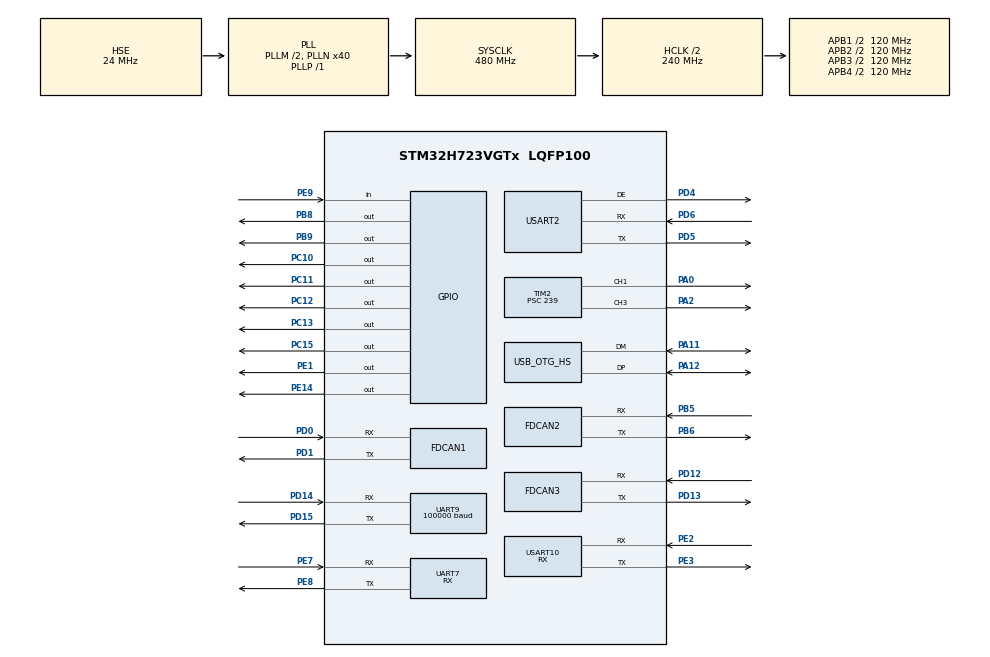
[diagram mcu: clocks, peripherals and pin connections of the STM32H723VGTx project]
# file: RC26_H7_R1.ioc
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CORTEX_M7.default_mode_Activation=1
Dma.Request0=UART9_RX
Dma.Request1=USART2_RX
Dma.UART9_RX.0.Direction=DMA_PERIPH_TO_MEMORY
Dma.UART9_RX.0.EventEnable=DISABLE
Dma.UART9_RX.0.FIFOMode=DMA_FIFOMODE_DISABLE
Dma.UART9_RX.0.Instance=DMA1_Stream2
Dma.UART9_RX.0.MemDataAlignment=DMA_MDATAALIGN_BYTE
Dma.UART9_RX.0.MemInc=DMA_MINC_ENABLE
Dma.UART9_RX.0.Mode=DMA_CIRCULAR
Dma.UART9_RX.0.PeriphDataAlignment=DMA_PDATAALIGN_BYTE
Dma.UART9_RX.0.PeriphInc=DMA_PINC_DISABLE
Dma.UART9_RX.0.Polarity=HAL_DMAMUX_REQ_GEN_RISING
Dma.UART9_RX.0.Priority=DMA_PRIORITY_VERY_HIGH
Dma.UART9_RX.0.RequestNumber=1
Dma.UART9_RX.0.SignalID=NONE
Dma.UART9_RX.0.SyncEnable=DISABLE
Dma.UART9_RX.0.SyncPolarity=HAL_DMAMUX_SYNC_NO_EVENT
Dma.UART9_RX.0.SyncRequestNumber=1
Dma.UART9_RX.0.SyncSignalID=NONE
Dma.USART2_RX.1.Direction=DMA_PERIPH_TO_MEMORY
Dma.USART2_RX.1.EventEnable=DISABLE
Dma.USART2_RX.1.FIFOMode=DMA_FIFOMODE_DISABLE
Dma.USART2_RX.1.Instance=DMA1_Stream0
Dma.USART2_RX.1.MemDataAlignment=DMA_MDATAALIGN_BYTE
Dma.USART2_RX.1.MemInc=DMA_MINC_ENABLE
Dma.USART2_RX.1.Mode=DMA_CIRCULAR
Dma.USART2_RX.1.PeriphDataAlignment=DMA_PDATAALIGN_BYTE
Dma.USART2_RX.1.PeriphInc=DMA_PINC_DISABLE
Dma.USART2_RX.1.Polarity=HAL_DMAMUX_REQ_GEN_RISING
Dma.USART2_RX.1.Priority=DMA_PRIORITY_LOW
Dma.USART2_RX.1.RequestNumber=1
Dma.USART2_RX.1.SignalID=NONE
Dma.USART2_RX.1.SyncEnable=DISABLE
Dma.USART2_RX.1.SyncPolarity=HAL_DMAMUX_SYNC_NO_EVENT
Dma.USART2_RX.1.SyncRequestNumber=1
Dma.USART2_RX.1.SyncSignalID=NONE
FDCAN1.AutoRetransmission=ENABLE
FDCAN1.CalculateBaudRateNominal=1000000
FDCAN1.CalculateTimeBitNominal=1000
FDCAN1.CalculateTimeQuantumNominal=25.0
FDCAN1.DataPrescaler=3
FDCAN1.DataSyncJumpWidth=10
FDCAN1.DataTimeSeg1=29
FDCAN1.DataTimeSeg2=10
FDCAN1.FrameFormat=FDCAN_FRAME_CLASSIC
FDCAN1.NominalPrescaler=3
FDCAN1.NominalSyncJumpWidth=10
FDCAN1.NominalTimeSeg1=29
FDCAN1.NominalTimeSeg2=10
FDCAN1.RxFifo0ElmtsNbr=16
FDCAN1.StdFiltersNbr=1
FDCAN1.TxBuffersNbr=0
FDCAN1.TxFifoQueueElmtsNbr=4
FDCAN2.AutoRetransmission=ENABLE
FDCAN2.CalculateBaudRateNominal=1000000
FDCAN2.CalculateTimeBitNominal=1000
FDCAN2.CalculateTimeQuantumNominal=25.0
FDCAN2.DataPrescaler=3
FDCAN2.DataSyncJumpWidth=10
FDCAN2.DataTimeSeg1=29
FDCAN2.DataTimeSeg2=10
FDCAN2.MessageRAMOffset=853
FDCAN2.NominalPrescaler=3
FDCAN2.NominalSyncJumpWidth=10
FDCAN2.NominalTimeSeg1=29
FDCAN2.NominalTimeSeg2=10
FDCAN2.RxFifo0ElmtsNbr=16
FDCAN2.StdFiltersNbr=1
FDCAN2.TxFifoQueueElmtsNbr=4
FDCAN3.AutoRetransmission=ENABLE
FDCAN3.CalculateBaudRateNominal=1000000
FDCAN3.CalculateTimeBitNominal=1000
FDCAN3.CalculateTimeQuantumNominal=25.0
FDCAN3.DataPrescaler=3
FDCAN3.DataSyncJumpWidth=10
FDCAN3.DataTimeSeg1=29
FDCAN3.DataTimeSeg2=10
FDCAN3.MessageRAMOffset=1706
FDCAN3.NominalPrescaler=3
FDCAN3.NominalSyncJumpWidth=10
FDCAN3.NominalTimeSeg1=29
FDCAN3.NominalTimeSeg2=10
FDCAN3.RxFifo0ElmtsNbr=16
FDCAN3.StdFiltersNbr=1
FDCAN3.TxFifoQueueElmtsNbr=4
FREERTOS.Tasks01=defaultTask,24,128,StartDefaultTask,Default,NULL,Dynamic,NULL,NULL;CanTask,48,128,Can_Task,As weak,NULL,Dynamic,NULL,NULL;MotionTask,40,128,Motion_Task,As weak,NULL,Dynamic,NULL,NULL;SensorTask,8,128,Sensor_Task,As weak,NULL,Dynamic,NULL,NULL
Mcu.Family=STM32H7
Mcu.Name=STM32H723VGTx
Mcu.Package=LQFP100
NVIC.DMA1_Stream0_IRQn=true\:5\:0\:false\:false\:true\:true\:false\:true\:true
NVIC.DMA1_Stream2_IRQn=true\:5\:0\:false\:false\:true\:false\:false\:true\:true
NVIC.FDCAN1_IT0_IRQn=true\:5\:0\:false\:false\:true\:true\:true\:true\:true
NVIC.FDCAN2_IT0_IRQn=true\:5\:0\:false\:false\:true\:true\:true\:true\:true
NVIC.FDCAN3_IT0_IRQn=true\:5\:0\:false\:false\:true\:true\:true\:true\:true
NVIC.OTG_HS_IRQn=true\:5\:0\:false\:false\:true\:true\:false\:true\:true
NVIC.PriorityGroup=NVIC_PRIORITYGROUP_4
NVIC.TIM3_IRQn=true\:5\:0\:false\:false\:true\:true\:true\:true\:true
NVIC.TIM4_IRQn=true\:5\:0\:false\:false\:true\:true\:true\:true\:true
NVIC.TIM5_IRQn=true\:5\:0\:false\:false\:true\:true\:true\:true\:true
NVIC.TIM8_UP_TIM13_IRQn=true\:15\:0\:false\:false\:true\:false\:false\:true\:true
NVIC.TimeBase=TIM8_UP_TIM13_IRQn
NVIC.TimeBaseIP=TIM8
NVIC.UART7_IRQn=true\:5\:0\:false\:false\:true\:true\:true\:true\:true
NVIC.UART9_IRQn=true\:5\:0\:false\:false\:true\:true\:true\:true\:true
NVIC.USART10_IRQn=true\:5\:0\:false\:false\:true\:true\:true\:true\:true
NVIC.USART2_IRQn=true\:5\:0\:false\:false\:true\:true\:true\:true\:true
PA0.Signal=S_TIM2_CH1_ETR
PA11.Mode=Device_Only_FS
PA11.Signal=USB_OTG_HS_DM
PA12.Mode=Device_Only_FS
PA12.Signal=USB_OTG_HS_DP
PA13(JTMS/SWDIO).Mode=Serial_Wire
PA13(JTMS/SWDIO).Signal=DEBUG_JTMS-SWDIO
PA14(JTCK/SWCLK).Mode=Serial_Wire
PA14(JTCK/SWCLK).Signal=DEBUG_JTCK-SWCLK
PA2.Signal=S_TIM2_CH3
PB5.Mode=FDCAN_Activate
PB5.Signal=FDCAN2_RX
PB6.Mode=FDCAN_Activate
PB6.Signal=FDCAN2_TX
PB8.GPIO_PuPd=GPIO_PULLDOWN
PB8.Signal=GPIO_Output
PB9.GPIO_PuPd=GPIO_PULLDOWN
PB9.Signal=GPIO_Output
PC10.GPIO_PuPd=GPIO_PULLDOWN
PC10.Signal=GPIO_Output
PC11.GPIO_PuPd=GPIO_PULLDOWN
PC11.Signal=GPIO_Output
PC12.GPIO_PuPd=GPIO_PULLDOWN
PC12.Signal=GPIO_Output
PC13.GPIO_ModeDefaultOutputPP=GPIO_MODE_OUTPUT_PP
PC13.GPIO_PuPd=GPIO_PULLUP
PC13.PinState=GPIO_PIN_SET
PC13.Signal=GPIO_Output
PC15-OSC32_OUT.GPIO_PuPd=GPIO_PULLUP
PC15-OSC32_OUT.PinState=GPIO_PIN_SET
PC15-OSC32_OUT.Signal=GPIO_Output
PD0.Mode=FDCAN_Activate
PD0.Signal=FDCAN1_RX
PD1.Mode=FDCAN_Activate
PD1.Signal=FDCAN1_TX
PD12.Mode=FDCAN_Activate
PD12.Signal=FDCAN3_RX
PD13.Mode=FDCAN_Activate
PD13.Signal=FDCAN3_TX
PD14.Mode=Asynchronous
PD14.Signal=UART9_RX
PD15.Mode=Asynchronous
PD15.Signal=UART9_TX
PD4.Mode=Hardware Flow Control (RS485)
PD4.Signal=USART2_DE
PD5.Mode=Asynchronous
PD5.Signal=USART2_TX
PD6.Mode=Asynchronous
PD6.Signal=USART2_RX
PE1.GPIO_PuPd=GPIO_PULLDOWN
PE1.Signal=GPIO_Output
PE14.GPIO_PuPd=GPIO_PULLDOWN
PE14.Signal=GPIO_Output
PE2.Mode=Asynchronous
PE2.Signal=USART10_RX
PE3.Mode=Asynchronous
PE3.Signal=USART10_TX
PE7.Mode=Asynchronous
PE7.Signal=UART7_RX
PE8.Mode=Asynchronous
PE8.Signal=UART7_TX
PE9.Signal=GPIO_Input
PH0-OSC_IN.Mode=HSE-External-Oscillator
PH0-OSC_IN.Signal=RCC_OSC_IN
PH1-OSC_OUT.Mode=HSE-External-Oscillator
PH1-OSC_OUT.Signal=RCC_OSC_OUT
ProjectManager.HeapSize=0x200
ProjectManager.StackSize=0x400
ProjectManager.TargetToolchain=MDK-ARM V5.32
RCC.ADCFreq_Value=48375000
RCC.APB1Freq_Value=120000000
RCC.APB2Freq_Value=120000000
RCC.APB3Freq_Value=120000000
RCC.APB4Freq_Value=120000000
RCC.CortexFreq_Value=480000000
RCC.D1PPRE=RCC_APB3_DIV2
RCC.D2PPRE1=RCC_APB1_DIV2
RCC.D2PPRE2=RCC_APB2_DIV2
RCC.D3PPRE=RCC_APB4_DIV2
RCC.DIVM1=2
RCC.DIVN1=40
RCC.DIVP1=1
RCC.DIVQ1=4
RCC.HCLKFreq_Value=240000000
RCC.HPRE=RCC_HCLK_DIV2
RCC.HSE_VALUE=24000000
RCC.PLL2FRACN=0
RCC.PLL3FRACN=0
RCC.PLLFRACN=0
RCC.PLLSourceVirtual=RCC_PLLSOURCE_HSE
RCC.SYSCLKFreq_VALUE=480000000
RCC.SYSCLKSource=RCC_SYSCLKSOURCE_PLLCLK
RCC.USBCLockSelection=RCC_USBCLKSOURCE_HSI48
RCC.USBFreq_Value=48000000
SH.S_TIM2_CH1_ETR.0=TIM2_CH1,PWM Generation1 CH1
SH.S_TIM2_CH3.0=TIM2_CH3,PWM Generation3 CH3
TIM2.AutoReloadPreload=TIM_AUTORELOAD_PRELOAD_ENABLE
TIM2.Channel-PWM\ Generation1\ CH1=TIM_CHANNEL_1
TIM2.Channel-PWM\ Generation3\ CH3=TIM_CHANNEL_3
TIM2.Period=19999
TIM2.Prescaler=239
TIM3.Period=1999
TIM3.Prescaler=239
TIM4.Period=1999
TIM4.Prescaler=239
TIM5.Period=1999
TIM5.Prescaler=239
UART7.Mode=MODE_RX
UART9.BaudRate=100000
UART9.Parity=PARITY_EVEN
UART9.RxPinLevelInvertParam=UART_ADVFEATURE_RXINV_ENABLE
UART9.StopBits=UART_STOPBITS_2
UART9.WordLength=WORDLENGTH_9B
USART10.Mode=MODE_RX
USART10.VirtualMode=VM_ASYNC
USART2.VirtualMode-Asynchronous=VM_ASYNC
USART2.VirtualMode-Hardware\ Flow\ Control\ (RS485)=VM_ASYNC
USB_DEVICE.CLASS_NAME_HS=CDC
USB_DEVICE.VirtualMode=Cdc
USB_DEVICE.VirtualModeHS=Cdc_HS
USB_OTG_HS.VirtualMode-Device_Only_FS=Device_Only_FS
VP_FREERTOS_VS_CMSIS_V2.Mode=CMSIS_V2
VP_MEMORYMAP_VS_MEMORYMAP.Mode=CurAppReg
VP_SYS_VS_tim8.Mode=TIM8
VP_TIM3_VS_ClockSourceINT.Mode=Internal
VP_TIM4_VS_ClockSourceINT.Mode=Internal
VP_TIM5_VS_ClockSourceINT.Mode=Internal
VP_USB_DEVICE_VS_USB_DEVICE_CDC_HS.Mode=CDC_HS
board=custom

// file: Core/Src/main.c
/* USER CODE BEGIN Header */
/**
  ******************************************************************************
  * @file           : main.c
  * @brief          : Main program body
  ******************************************************************************
  * @attention
  *
  * Copyright (c) 2026 STMicroelectronics.
  * All rights reserved.
  *
  * This software is licensed under terms that can be found in the LICENSE file
  * in the root directory of this software component.
  * If no LICENSE file comes with this software, it is provided AS-IS.
  *
  ******************************************************************************
  */
/* USER CODE END Header */
#include "main.h"
#include "FreeRTOS.h"
#include "cmsis_os2.h"
#include "dma.h"
#include "fdcan.h"
#include "tim.h"
#include "usart.h"
#include "usb_device.h"
#include "gpio.h"

/* USER CODE BEGIN Includes */
#include "register.h"
#include "bsp_can.h"
#include "bsp_uart.h"
#include "usbd_cdc_if.h"
#include "lift.h"
#include "kfs.h"
#include "weapon.h"
#include "sensor.h"
#include "bsp_can_tim.h"
/* USER CODE END Includes */

void SystemClock_Config(void);
static void MPU_Config(void);
void MX_FREERTOS_Init(void);

int main(void)
{

  /* MPU Configuration--------------------------------------------------------*/
  MPU_Config();

  /* MCU Configuration--------------------------------------------------------*/

  /* Reset of all peripherals, Initializes the Flash interface and the Systick. */
  HAL_Init();

  /* Configure the system clock */
  SystemClock_Config();

  /* Initialize all configured peripherals */
  MX_GPIO_Init();
  MX_DMA_Init();
  MX_TIM2_Init();
  MX_TIM4_Init();
  MX_UART7_Init();
  MX_FDCAN1_Init();
  MX_FDCAN2_Init();
  MX_FDCAN3_Init();
  MX_USART10_UART_Init();
  MX_UART9_Init();
  MX_USART2_UART_Init();
  MX_TIM3_Init();
  MX_TIM5_Init();
  /* USER CODE BEGIN 2 */
  BSP_CAN_Init();
  BSP_USART_Init();
	HAL_TIM_Base_Start(&htim2);
  HAL_TIM_PWM_Start(&htim2,TIM_CHANNEL_1 );
  HAL_TIM_PWM_Start(&htim2,TIM_CHANNEL_3 );
  BSP_CAN_Tim_Init();  /* 初始化CAN定时器 */
  HAL_Delay(1500);
  Structue_Init();
  lift_init();
  manual_lift_function();
  kfs_three_kfs_spin_main_lift_pos_init();
  MX_USB_DEVICE_Init();
	Laser_Init(&huart7, &huart10);
  /* USER CODE END 2 */

  /* Init scheduler */
  osKernelInitialize();  /* Call init function for freertos objects (in cmsis_os2.c) */
  MX_FREERTOS_Init();

  /* Start scheduler */
  osKernelStart();

  /* We should never get here as control is now taken by the scheduler */

  /* Infinite loop */
  while (1)
  {

  }
}

void SystemClock_Config(void)
{
  RCC_OscInitTypeDef RCC_OscInitStruct = {0};
  RCC_ClkInitTypeDef RCC_ClkInitStruct = {0};

  /** Supply configuration update enable
  */
  HAL_PWREx_ConfigSupply(PWR_LDO_SUPPLY);

  /** Configure the main internal regulator output voltage
  */
  __HAL_PWR_VOLTAGESCALING_CONFIG(PWR_REGULATOR_VOLTAGE_SCALE0);

  while(!__HAL_PWR_GET_FLAG(PWR_FLAG_VOSRDY)) {}

  /** Initializes the RCC Oscillators according to the specified parameters
  * in the RCC_OscInitTypeDef structure.
  */
  RCC_OscInitStruct.OscillatorType = RCC_OSCILLATORTYPE_HSI48|RCC_OSCILLATORTYPE_HSE;
  RCC_OscInitStruct.HSEState = RCC_HSE_ON;
  RCC_OscInitStruct.HSI48State = RCC_HSI48_ON;
  RCC_OscInitStruct.PLL.PLLState = RCC_PLL_ON;
  RCC_OscInitStruct.PLL.PLLSource = RCC_PLLSOURCE_HSE;
  RCC_OscInitStruct.PLL.PLLM = 2;
  RCC_OscInitStruct.PLL.PLLN = 40;
  RCC_OscInitStruct.PLL.PLLP = 1;
  RCC_OscInitStruct.PLL.PLLQ = 4;
  RCC_OscInitStruct.PLL.PLLR = 2;
  RCC_OscInitStruct.PLL.PLLRGE = RCC_PLL1VCIRANGE_3;
  RCC_OscInitStruct.PLL.PLLVCOSEL = RCC_PLL1VCOWIDE;
  RCC_OscInitStruct.PLL.PLLFRACN = 0;
  if (HAL_RCC_OscConfig(&RCC_OscInitStruct) != HAL_OK)
  {
    Error_Handler();
  }

  /** Initializes the CPU, AHB and APB buses clocks
  */
  RCC_ClkInitStruct.ClockType = RCC_CLOCKTYPE_HCLK|RCC_CLOCKTYPE_SYSCLK
                              |RCC_CLOCKTYPE_PCLK1|RCC_CLOCKTYPE_PCLK2
                              |RCC_CLOCKTYPE_D3PCLK1|RCC_CLOCKTYPE_D1PCLK1;
  RCC_ClkInitStruct.SYSCLKSource = RCC_SYSCLKSOURCE_PLLCLK;
  RCC_ClkInitStruct.SYSCLKDivider = RCC_SYSCLK_DIV1;
  RCC_ClkInitStruct.AHBCLKDivider = RCC_HCLK_DIV2;
  RCC_ClkInitStruct.APB3CLKDivider = RCC_APB3_DIV2;
  RCC_ClkInitStruct.APB1CLKDivider = RCC_APB1_DIV2;
  RCC_ClkInitStruct.APB2CLKDivider = RCC_APB2_DIV2;
  RCC_ClkInitStruct.APB4CLKDivider = RCC_APB4_DIV2;

  if (HAL_RCC_ClockConfig(&RCC_ClkInitStruct, FLASH_LATENCY_3) != HAL_OK)
  {
    Error_Handler();
  }
}

 /* MPU Configuration */

void MPU_Config(void)
{
  MPU_Region_InitTypeDef MPU_InitStruct = {0};

  /* Disables the MPU */
  HAL_MPU_Disable();

  /** Initializes and configures the Region and the memory to be protected
  */
  MPU_InitStruct.Enable = MPU_REGION_ENABLE;
  MPU_InitStruct.Number = MPU_REGION_NUMBER0;
  MPU_InitStruct.BaseAddress = 0x0;
  MPU_InitStruct.Size = MPU_REGION_SIZE_4GB;
  MPU_InitStruct.SubRegionDisable = 0x87;
  MPU_InitStruct.TypeExtField = MPU_TEX_LEVEL0;
  MPU_InitStruct.AccessPermission = MPU_REGION_NO_ACCESS;
  MPU_InitStruct.DisableExec = MPU_INSTRUCTION_ACCESS_DISABLE;
  MPU_InitStruct.IsShareable = MPU_ACCESS_SHAREABLE;
  MPU_InitStruct.IsCacheable = MPU_ACCESS_NOT_CACHEABLE;
  MPU_InitStruct.IsBufferable = MPU_ACCESS_NOT_BUFFERABLE;

  HAL_MPU_ConfigRegion(&MPU_InitStruct);
  /* Enables the MPU */
  HAL_MPU_Enable(MPU_PRIVILEGED_DEFAULT);

}

void HAL_TIM_PeriodElapsedCallback(TIM_HandleTypeDef *htim)
{
  if (htim->Instance == TIM8)
  {
    HAL_IncTick();
  }
  /* USER CODE BEGIN Callback 1 */

  /* 三路CAN定时发送标志位 */
  if (htim->Instance == TIM3)
  {
    can1_send_flag = 1;  /* TIM3 → FDCAN1 */
  }
  if (htim->Instance == TIM4)
  {
    can2_send_flag = 1;  /* TIM4 → FDCAN2 */
  }
  if (htim->Instance == TIM5)
  {
    can3_send_flag = 1;  /* TIM5 → FDCAN3 */
  }

  /* USER CODE END Callback 1 */
}

void Error_Handler(void)
{
  __disable_irq();
  while (1)
  {
  }
}
